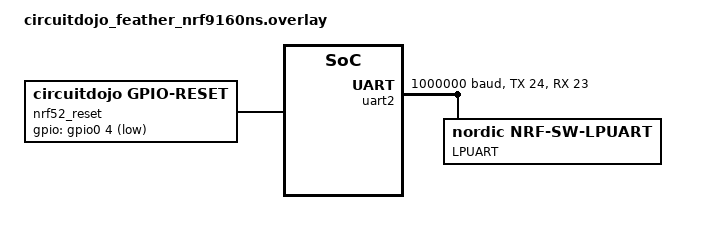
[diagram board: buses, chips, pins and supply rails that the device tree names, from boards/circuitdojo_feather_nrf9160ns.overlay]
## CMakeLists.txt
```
#
# Copyright (c) 2020 Circuit Dojo LLC
#
# SPDX-License-Identifier: Apache-2.0
#

cmake_minimum_required(VERSION 3.8.2)

find_package(Zephyr REQUIRED HINTS $ENV{ZEPHYR_BASE})

project(pyrinas_bridge)

FILE(GLOB app_sources src/*.c)
FILE(GLOB app_weak_sources ${PYRINAS_DIR}/lib/app/*.c)

target_sources(app PRIVATE ${app_sources} ${app_weak_sources})
```

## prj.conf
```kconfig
# Stackin' and heapin'
CONFIG_MAIN_STACK_SIZE=8192
CONFIG_HEAP_MEM_POOL_SIZE=8192
CONFIG_SYSTEM_WORKQUEUE_STACK_SIZE=2048

# Let __ASSERT do its job
CONFIG_DEBUG=y
CONFIG_BT_LOG_LEVEL_INF=y
CONFIG_LOG=y
CONFIG_LOG_IMMEDIATE=y
CONFIG_ASSERT=y

# Enable Zephyr application to be booted by MCUboot
CONFIG_BOOTLOADER_MCUBOOT=y

# Ring buffer
CONFIG_RING_BUFFER=y

# Adding Peripherals
CONFIG_GPIO=y
CONFIG_I2C=y

# RTC
# CONFIG_PCF85063A=y

# SPI Flash
CONFIG_SPI=y
CONFIG_SPI_NOR=y
CONFIG_SPI_NOR_FLASH_LAYOUT_PAGE_SIZE=4096

# Enable flash operations.
CONFIG_FLASH=y
CONFIG_FLASH_MAP=y
CONFIG_FLASH_PAGE_LAYOUT=y

# Enable the LittleFS file system.
CONFIG_FILE_SYSTEM=y
CONFIG_FILE_SYSTEM_LITTLEFS=y

# Nordic specific external flash stuff
CONFIG_PM_EXTERNAL_FLASH=y
CONFIG_PM_EXTERNAL_FLASH_DEV_NAME="W25Q32JV"
CONFIG_PM_EXTERNAL_FLASH_BASE=0x0
CONFIG_PM_EXTERNAL_FLASH_SIZE=0x400000

# CONFIG_APP_WIPE_STORAGE=y

# For saving settings
CONFIG_SETTINGS=y
CONFIG_SETTINGS_FS=y
CONFIG_SETTINGS_FS_DIR="/lfs/settings"
CONFIG_SETTINGS_FS_FILE="/lfs/settings/run"

# Pyrinas Related
CONFIG_PYRINAS_BLUETOOTH_ENABLED=y
CONFIG_PYRINAS_CENTRAL_ENABLED=y

# Enable Bluetooth stack and libraries
CONFIG_BT=y
CONFIG_BT_H4=y
CONFIG_BT_WAIT_NOP=y
CONFIG_BT_CENTRAL=y
CONFIG_BT_GATT_CLIENT=y
CONFIG_BT_GATT_DM=y
CONFIG_BT_SCAN=y
CONFIG_BT_SCAN_FILTER_ENABLE=y
CONFIG_BT_SCAN_NAME_CNT=1
CONFIG_BT_DEVICE_NAME="Pyrinas"

# HCI config
# CONFIG_BT_HCI_CMD_COUNT=10

# Discardable
# CONFIG_BT_DISCARDABLE_BUF_COUNT=10

# Bluetooth max transmission unit size
# CONFIG_BT_L2CAP_TX_MTU=247
# CONFIG_BT_L2CAP_RX_MTU=247
# CONFIG_BT_L2CAP_TX_BUF_COUNT=10

# Bluetoth RX
# CONFIG_BT_RX_BUF_LEN=258
# CONFIG_BT_RX_BUF_COUNT=80

# ATT Long write work
# CONFIG_BT_ATT_PREPARE_COUNT=10
# CONFIG_BT_ATT_TX_MAX=10

# Extended Advertising needed for CODED PHY
CONFIG_BT_EXT_ADV=y
CONFIG_BT_EXT_ADV_LEGACY_SUPPORT=y

# Pairing related
CONFIG_BT_ECC=y
CONFIG_BT_SMP=y
CONFIG_BT_SETTINGS=y
CONFIG_BT_MAX_PAIRED=8
CONFIG_BT_SIGNING=y
CONFIG_BT_MAX_CONN=8
CONFIG_BT_PRIVACY=y

# Image manager
CONFIG_IMG_MANAGER=y
CONFIG_FLASH=y
CONFIG_IMG_ERASE_PROGRESSIVELY=y

# DFU Target
# CONFIG_DFU_TARGET=y

# Network
CONFIG_NETWORKING=y
CONFIG_NET_SOCKETS=y
CONFIG_NET_NATIVE=n

# HCI interface over UART
CONFIG_UART_INTERRUPT_DRIVEN=y
```

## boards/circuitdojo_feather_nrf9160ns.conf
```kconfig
CONFIG_NRF_SW_LPUART=y
CONFIG_NRF_SW_LPUART_INT_DRIVEN=y

CONFIG_UART_2_ASYNC=y
CONFIG_UART_2_INTERRUPT_DRIVEN=n
CONFIG_UART_2_NRF_HW_ASYNC=y
CONFIG_UART_2_NRF_HW_ASYNC_TIMER=2

# Enable Zephyr application to be booted by MCUboot
CONFIG_BOOTLOADER_MCUBOOT=y
```

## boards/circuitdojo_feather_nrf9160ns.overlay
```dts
/*
 * Copyright (c) 2020 Circuit Dojo LLC
 *
 * SPDX-License-Identifier: Apache-2.0
 */

 &uart2 {
    compatible = "nordic,nrf-uarte";
    current-speed = <1000000>;
    status = "okay";
    tx-pin = <24>;
    rx-pin = <23>;
    /delete-property/ rts-pin;
    /delete-property/ cts-pin;

    lpuart: nrf-sw-lpuart {
        compatible = "nordic,nrf-sw-lpuart";
        status = "okay";
        label = "LPUART";
        req-pin = <0>; /* <&interface_to_nrf52840 3 0>; */
        rdy-pin = <30>; /* <&interface_to_nrf52840 2 0>; */
    };
};

/delete-node/ &uart1;

/ {
    chosen {
        zephyr,bt-uart=&lpuart;
    };

    /* Reset control */
    nrf52_reset: gpio-reset {
        compatible = "circuitdojo,gpio-reset";
        status = "okay";
        gpios = <&gpio0 4 GPIO_ACTIVE_LOW>;
    };
};
```

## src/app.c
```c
/*
 * Copyright (c) 2021 Circuit Dojo LLC
 *
 * SPDX-License-Identifier: Apache-2.0
 */

#include <app/app_includes.h>

#include <device.h>
#include <devicetree.h>
#include <drivers/gpio.h>

#include <logging/log.h>
LOG_MODULE_REGISTER(app);

#define FLAGS_OR_ZERO(node)                          \
    COND_CODE_1(DT_PHA_HAS_CELL(node, gpios, flags), \
                (DT_GPIO_FLAGS(node, gpios)),        \
                (0))

#define LED0_NODE DT_ALIAS(led0)
#define SW0_NODE DT_ALIAS(sw0)

#define LED0_GPIO_LABEL DT_GPIO_LABEL(LED0_NODE, gpios)
#define LED0_GPIO_PIN DT_GPIO_PIN(LED0_NODE, gpios)
#define LED0_GPIO_FLAGS (GPIO_OUTPUT | FLAGS_OR_ZERO(LED0_NODE))

#define SW0_GPIO_LABEL DT_GPIO_LABEL(SW0_NODE, gpios)
#define SW0_GPIO_PIN DT_GPIO_PIN(SW0_NODE, gpios)
#define SW0_GPIO_FLAGS (GPIO_INPUT | FLAGS_OR_ZERO(SW0_NODE))

static void my_expiry_function(struct k_timer *timer);
K_TIMER_DEFINE(my_timer, my_expiry_function, NULL);

static struct gpio_callback button_cb_data;

char count[10];
int tx_counter = 0;

static void my_expiry_function(struct k_timer *timer)
{
    if (ble_is_connected())
    {
        snprintf(count, sizeof(count), "%i", tx_counter++);
        ble_publish("ping", count);
        LOG_INF("sending: \"%s\" \"%s\"", "ping", log_strdup(count));
    }

    k_timer_start(&my_timer, K_MSEC(500), K_NO_WAIT);
}

void evt_cb(char *name, char *data)
{
    LOG_INF("\"%s\" \"%s\"", log_strdup(name), log_strdup(data));
}

static const struct device *led;

void led_init(void)
{
    int ret;

    led = device_get_binding(LED0_GPIO_LABEL);
    if (led == NULL)
    {
        LOG_ERR("Didn't find LED device %s\n", LED0_GPIO_LABEL);
        return;
    }

    ret = gpio_pin_configure(led, LED0_GPIO_PIN, LED0_GPIO_FLAGS);
    if (ret != 0)
    {
        LOG_ERR("Error %d: failed to configure LED device %s pin %d\n",
                ret, LED0_GPIO_LABEL, LED0_GPIO_PIN);
        return;
    }
}

void button_pressed(const struct device *dev, struct gpio_callback *cb,
                    uint32_t pins)
{
    LOG_DBG("Button pressed at %" PRIu32 "\n", k_cycle_get_32());

    ble_erase_bonds();
}

static void button_init()
{

    const struct device *button;
    int ret;

    button = device_get_binding(SW0_GPIO_LABEL);
    if (button == NULL)
    {
        LOG_ERR("Error: didn't find %s device\n", SW0_GPIO_LABEL);
        return;
    }

    ret = gpio_pin_configure(button, SW0_GPIO_PIN, SW0_GPIO_FLAGS);
    if (ret != 0)
    {
        LOG_ERR("Error %d: failed to configure %s pin %d\n",
                ret, SW0_GPIO_LABEL, SW0_GPIO_PIN);
        return;
    }

    ret = gpio_pin_interrupt_configure(button,
                                       SW0_GPIO_PIN,
                                       GPIO_INT_EDGE_TO_ACTIVE);
    if (ret != 0)
    {
        printk("Error %d: failed to configure interrupt on %s pin %d\n",
               ret, SW0_GPIO_LABEL, SW0_GPIO_PIN);
        return;
    }

    gpio_init_callback(&button_cb_data, button_pressed, BIT(SW0_GPIO_PIN));
    gpio_add_callback(button, &button_cb_data);
}

static void raw_evt_handler(pyrinas_event_t *evt)
{
    LOG_INF("evt name: %s", log_strdup(evt->name.bytes));
}

void setup(void)
{
    // Message!
    LOG_INF("Start of Pyrinas Hub example!");

    /* LED init */
    led_init();

    /* Button init */
    button_init();

    // Default config for central mode
    BLE_STACK_CENTRAL_DEF(init);

    /* BLE initialization */
    ble_stack_init(&init);

    // Subscribe
    ble_subscribe("pong", evt_cb);

    /* Raw evt handler */
    ble_subscribe_raw(raw_evt_handler);

    // Start message timer
    k_timer_start(&my_timer, K_SECONDS(1), K_NO_WAIT);
}

void loop(void)
{
    // Toggle LED
    gpio_pin_toggle(led, LED0_GPIO_PIN);
    k_msleep(500);
}
```
